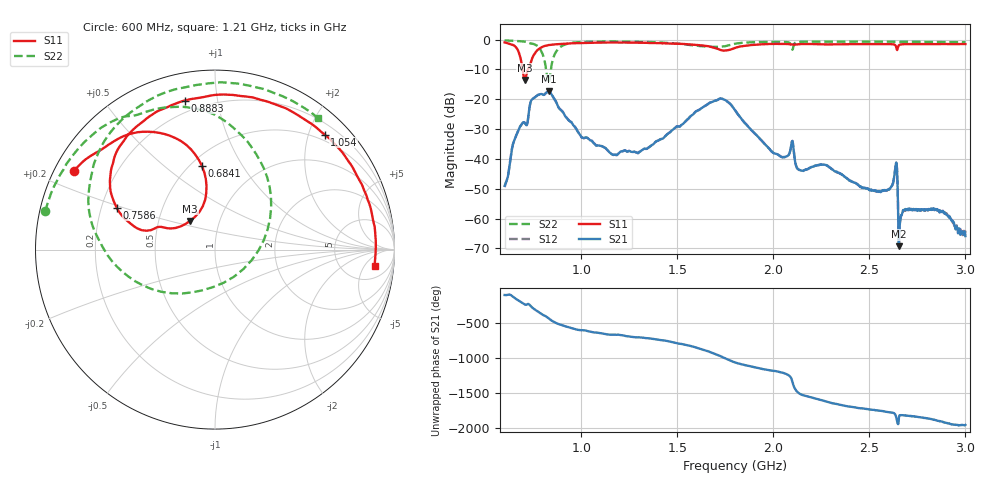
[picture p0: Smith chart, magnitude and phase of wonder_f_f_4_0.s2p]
#  HZ  S  RI  R  50.00
! Rohde & Schwarz ZVB8 2Ports - Version 2.81 - 1145.1010k08 SN: 100113
! Date: 2016-05-12 03:16:43
! Measurements: S11 S21 S12 S22
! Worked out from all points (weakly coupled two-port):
!   1000 points, 600 MHz to 3 GHz, reference 50 ohm
!   highest |S21| = -17.33 dB at 830.6 MHz (marker M1); lowest = -69.3 dB at 2.654 GHz (marker M2)
!   lowest |S11| = -13.5 dB at 705.7 MHz (marker M3), VSWR 1.54, Z = 36.1 + j12.1 ohm
!   |S11| at or under -10 dB: 693.9 MHz to 721.1 MHz (27.19 MHz wide, 3.84 % of centre)
!   |S22| runs from -14.7 to -0.3 dB; largest |S21 - S12| = 0.0015
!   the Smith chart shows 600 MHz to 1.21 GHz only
!   S11 on the Smith chart (normalised r, x): 600 MHz: 0.06, +0.26; 684.1 MHz: 0.57, +0.68; 758.6 MHz: 0.26, +0.19; 888.3 MHz: 0.14, +0.81; 1.054 GHz: 0.39, +2.28; 1.21 GHz: 10, -9
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6e8  -0.7864 0.4385  -0.00105 -0.00337  -0.000994 -0.00326  -0.9461 0.2139
6.840841e8  -0.0725 0.4663  -0.0324 0.0161  -0.0324 0.0162  -0.7288 0.5981
7.057057e8  -0.1392 0.1599  -0.0182 0.0355  -0.0179 0.0356  -0.6181 0.6887
7.585586e8  -0.5481 0.2337  0.0798 0.074  0.0798 0.0732  -0.2282 0.7947
8.042042e8  -0.5429 0.5558  0.0948 -0.0715  0.0947 -0.0715  0.2902 0.4044
8.306306e8  -0.4373 0.6856  0.0168 -0.1349  0.0165 -0.135  0.047 -0.1853
8.594595e8  -0.3096 0.7759  -0.0711 -0.0717  -0.071 -0.0719  -0.5474 -0.0938
8.882883e8  -0.1682 0.8306  -0.0665 -0.0153  -0.0667 -0.0155  -0.7052 0.2507
1.001201e9  0.3907 0.7889  -0.0079 0.0215  -0.00788 0.0216  -0.3111 0.862
1.054054e9  0.6106 0.6408  0.00182 0.0201  0.00187 0.02  -0.068 0.9214
1.21021e9  0.8891 -0.0907  0.0107 0.00816  0.0107 0.00815  0.5723 0.7342
1.4e9  0.3437 -0.8051  0.0184 -0.00858  0.0184 -0.00855  0.8998 0.0637
1.616216e9  -0.5243 -0.6133  -0.0602 -0.0304  -0.0603 -0.0304  0.5636 -0.5409
1.801201e9  -0.7016 -0.1963  0.0641 0.0103  0.0642 0.0103  0.2833 -0.8078
1.976577e9  -0.723 0.4405  -0.00282 -0.0148  -0.00282 -0.0148  -0.2662 -0.8737
2.2e9  0.0218 0.8449  -0.00476 -0.00555  -0.00477 -0.00559  -0.7339 -0.5647
2.423423e9  0.7547 0.3708  8.74e-05 0.00401  2.3e-05 0.00393  -0.9253 -0.0709
2.601201e9  0.7472 -0.3889  0.00291 0.00109  0.00286 0.00105  -0.8649 0.3234
2.634835e9  0.613 -0.5247  0.00676 -0.0018  0.00678 -0.00184  -0.8338 0.3862
2.654054e9  0.652 -0.4759  0.000232 -0.000255  0.000195 -0.000331  -0.8193 0.4221
2.803003e9  0.1219 -0.8342  0.000512 -0.00127  0.000513 -0.00131  -0.6064 0.6893
3e9  -0.5543 -0.6375  -0.000485 -0.000157  -0.000603 -0.00017  -0.1823 0.8869
